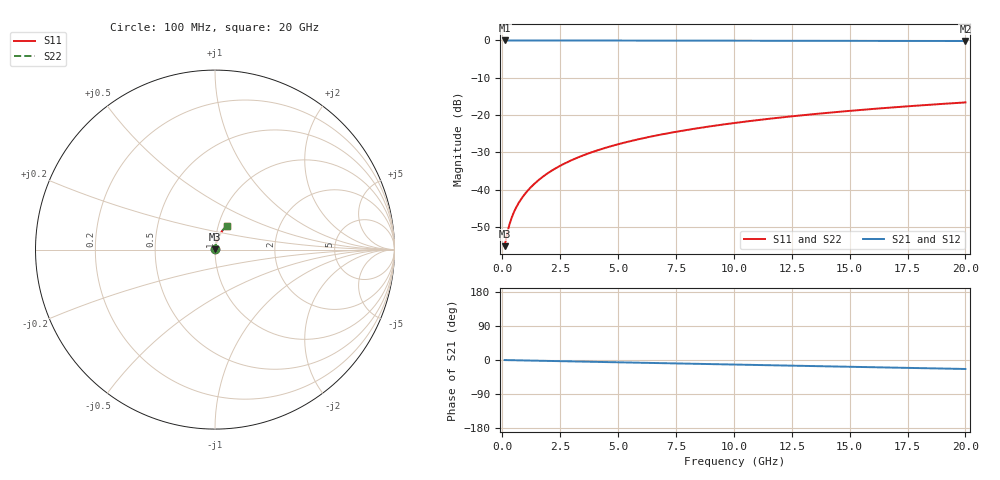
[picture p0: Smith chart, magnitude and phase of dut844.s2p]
! Touchstone file exported from HFSS 2026.1.0
!  File:  C:/ffzhzh/LocalFiles/Ansys_Project_Files/temp_train_TMRDL_844_1783156847_22436.aedt
!  Generated:  05:21:57 PM Jul  4, 2026
!  Design:  TMRDL
!  Project:  temp_train_TMRDL_844_1783156847_22436
! Variables:
!  h_bsmrdl = 2um
!  h_ox = 20um
!  h_rdl = 5um
!  h_sub = 80um
!  h_tmrdl = 4.17um
!  h_tsv = 80um
!  h_via = 3um
!  l_bsmrdl = 300um
!  l_sub = 769.82um
!  l_tmrdl = 369.82um
!  m_sub = 200um
!  pitch = 40.78um
!  r_tsv = 6um
!  s_tmrdl = 10um
!  w_bsmrdl = 18um
!  w_sub = 500um
!  w_tmrdl = 26.73um
!  x_tsv_center1 = 383.185um
!  x_tsv_center2 = 701.185um
!  x_tsv_center3 = 1097.735um
!  x_tsv_center4 = 1415.735um
!  x_tsv_center5 = 1812.285um
!  x_tsv_center6 = 2130.285um
# GHz S MA R 50.000000
! Terminal data exported
! Port[1] = TM_RDL1_1_T1
! Port[2] = TM_RDL1_1_T2
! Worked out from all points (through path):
!   200 points, 100 MHz to 20 GHz, reference 50 ohm
!   highest |S21| = -0.01 dB at 100 MHz (marker M1); lowest = -0.2 dB at 20 GHz (marker M2)
!   group delay of S21, straight-line fit = 3.28 ps
!   lowest |S11| = -55.2 dB at 100 MHz (marker M3), VSWR 1.00, Z = 50.1 + j0.102 ohm
!   |S11| at or under -10 dB: start of sweep to end of sweep
!   |S22| runs from -55.2 to -16.6 dB; largest |S21 - S12| = 4.3e-15
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0.1  0.001738 35.7  0.9986 -0.1  0.9986 -0.1  0.001738 35.7
! Gamma 0 0 0 0
! Port Impedance 50 0 50 0
0.2  0.002492 52.9  0.9985 -0.3  0.9985 -0.3  0.002492 52.9
0.3  0.003325 60.8  0.9983 -0.4  0.9983 -0.4  0.003325 60.8
0.4  0.004151 65.3  0.9982 -0.5  0.9982 -0.5  0.004151 65.3
0.5  0.004959 68.2  0.9982 -0.6  0.9982 -0.6  0.004958 68.2
0.6  0.005752 70.4  0.9981 -0.8  0.9981 -0.8  0.005752 70.4
0.8  0.007322 73.5  0.9981 -1.0  0.9981 -1.0  0.007322 73.5
1.1  0.009677 76.3  0.998 -1.4  0.998 -1.4  0.009677 76.3
1.3  0.01126 77.5  0.9979 -1.6  0.9979 -1.6  0.01126 77.5
1.6  0.01364 78.7  0.9978 -2.0  0.9978 -2.0  0.01364 78.7
2.1  0.01763 79.7  0.9976 -2.6  0.9976 -2.6  0.01763 79.7
2.7  0.02242 80.1  0.9972 -3.3  0.9972 -3.3  0.02242 80.1
3.5  0.02876 80.0  0.9967 -4.3  0.9967 -4.3  0.02876 80.0
4.2  0.03425 79.5  0.9962 -5.1  0.9962 -5.1  0.03425 79.5
5  0.04046 78.9  0.9957 -6.1  0.9957 -6.1  0.04046 78.9
5.9  0.04736 78.1  0.995 -7.2  0.995 -7.2  0.04736 78.1
6.8  0.05417 77.2  0.9942 -8.2  0.9942 -8.2  0.05417 77.2
8.3  0.06536 75.7  0.993 -10.0  0.993 -10.0  0.06537 75.7
10.1  0.07857 73.9  0.9915 -12.1  0.9915 -12.1  0.07858 73.9
13.4  0.1022 70.4  0.9884 -16.0  0.9884 -16.0  0.1022 70.4
16.7  0.1252 66.9  0.9851 -19.9  0.9851 -19.9  0.1252 66.9
20  0.1473 63.4  0.9814 -23.7  0.9814 -23.7  0.1473 63.3
